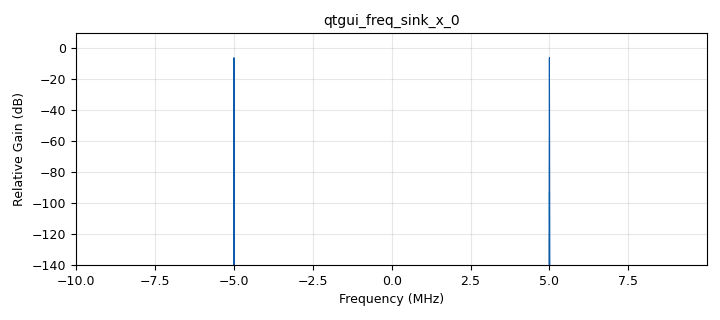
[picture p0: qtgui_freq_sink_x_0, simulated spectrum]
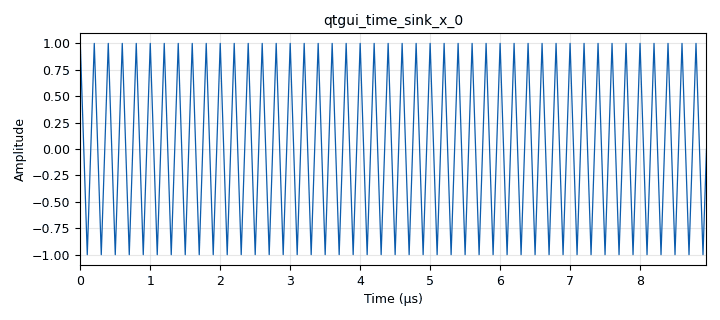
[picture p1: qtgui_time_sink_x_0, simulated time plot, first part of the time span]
options:
  parameters:
    generate_options: qt_gui
    id: teste2
    output_language: python
    title: Not titled yet
  states: {}

blocks:
- name: samp_rate
  id: variable
  parameters:
    value: '20000000'
  states: {}
- name: analog_sig_source_x_0
  id: analog_sig_source_x
  parameters:
    amp: '1'
    freq: '5000000'
    offset: '0'
    phase: '0'
    samp_rate: samp_rate
    type: float
    waveform: analog.GR_COS_WAVE
  states: {}
- name: blocks_throttle2_0
  id: blocks_throttle2
  parameters:
    samples_per_second: samp_rate/100
    type: float
  states: {}
- name: qtgui_freq_sink_x_0
  id: qtgui_freq_sink_x
  parameters:
    bw: samp_rate
    fc: '0'
    fftsize: '1024'
    type: float
    wintype: window.WIN_RECTANGULAR
  states: {}
- name: qtgui_sink_x_0
  id: qtgui_sink_x
  parameters:
    bw: samp_rate
    fc: '0'
    fftsize: '1024'
    type: complex
    wintype: window.WIN_RECTANGULAR
  states: {state: disabled}
- name: qtgui_time_sink_x_0
  id: qtgui_time_sink_x
  parameters:
    autoscale: 'True'
    grid: 'True'
    size: '1024'
    srate: samp_rate
    type: float
  states: {}

connections:
- [analog_sig_source_x_0, '0', blocks_throttle2_0, '0']
- [analog_sig_source_x_0, '0', qtgui_sink_x_0, '0']
- [blocks_throttle2_0, '0', qtgui_freq_sink_x_0, '0']
- [blocks_throttle2_0, '0', qtgui_time_sink_x_0, '0']

metadata:
  file_format: 1
  grc_version: 3.10.12.0
